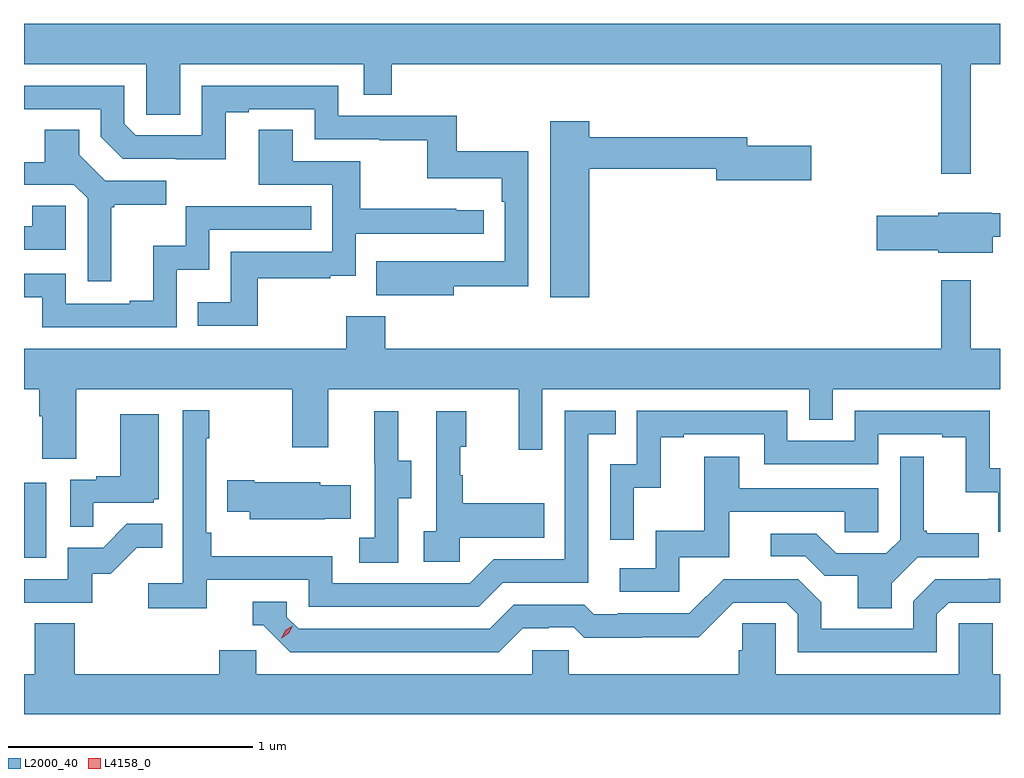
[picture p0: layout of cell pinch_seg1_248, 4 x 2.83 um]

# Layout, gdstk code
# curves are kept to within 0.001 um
import gdstk
lib = gdstk.Library(unit=1e-6, precision=1e-09)
def R(c, l, rs):  # rectangles x0, y0, x1, y1
    for r in rs: c.add(gdstk.rectangle(r[:2], r[2:], *l))
def P(c, l, *ps):  # polygons
    for p in ps: c.add(gdstk.Polygon(p, *l))
L2000_40 = (2000, 40)
L4158_0 = (4158, 0)

pinch_seg1_248 = lib.new_cell('pinch_seg1_248')
R(pinch_seg1_248, L2000_40, [(912.867,573.684,912.958,573.991)])
P(pinch_seg1_248, L2000_40, [(916.747,575.708),(916.867,575.708),(916.867,575.872),(912.867,575.872),(912.867,575.708),(913.368,575.708),(913.368,575.5),(913.507,575.5),(913.507,575.708),(914.259,575.708),(914.259,575.581),(914.375,575.581),(914.375,575.708),(916.626,575.708),(916.626,575.259),(916.747,575.259)],
  [(914.629,574.798),(914.934,574.798),(914.934,575.35),(914.641,575.35),(914.641,575.496),(914.154,575.496),(914.154,575.619),(913.596,575.619),(913.596,575.415),(913.326,575.415),(913.278,575.463),(913.278,575.619),(912.867,575.619),(912.867,575.523),(913.182,575.523),(913.182,575.409),(913.272,575.319),(913.693,575.318),(913.693,575.511),(913.789,575.511),(913.789,575.523),(914.058,575.523),(914.058,575.4),(914.323,575.4),(914.323,575.395),(914.52,575.395),(914.52,575.24),(914.825,575.24),(914.825,575.144),(914.838,575.144),(914.838,574.899),(914.311,574.9),(914.311,574.76),(914.629,574.76)],
  [(915.184,575.278),(915.704,575.278),(915.704,575.231),(916.093,575.231),(916.093,575.373),(915.832,575.373),(915.832,575.407),(915.184,575.407),(915.184,575.473),(915.023,575.473),(915.023,574.752),(915.184,574.752)],
  [(913.225,575.121),(913.237,575.121),(913.237,575.132),(913.45,575.132),(913.45,575.229),(913.2,575.229),(913.093,575.336),(913.093,575.438),(912.953,575.438),(912.953,575.306),(912.867,575.306),(912.867,575.214),(913.071,575.214),(913.128,575.157),(913.128,574.818),(913.225,574.818)],
  [(913.825,574.83),(914.123,574.83),(914.123,574.841),(914.226,574.841),(914.226,575.013),(914.752,575.013),(914.752,575.109),(914.639,575.109),(914.639,575.114),(914.246,575.114),(914.246,575.31),(913.969,575.31),(913.969,575.438),(913.829,575.438),(913.829,575.214),(914.13,575.214),(914.13,574.938),(913.714,574.938),(913.714,574.732),(913.579,574.732),(913.579,574.635),(913.825,574.635)],
  [(913.038,575.127),(912.901,575.127),(912.901,575.043),(912.867,575.043),(912.867,574.947),(913.038,574.947)],
  [(913.494,574.865),(913.626,574.865),(913.626,575.028),(914.045,575.028),(914.045,575.124),(913.53,575.124),(913.53,574.963),(913.397,574.963),(913.397,574.738),(913.301,574.738),(913.301,574.725),(913.038,574.725),(913.038,574.848),(912.867,574.848),(912.867,574.752),(912.942,574.752),(912.942,574.629),(913.494,574.629)],
  [(916.837,575.001),(916.867,575.001),(916.867,575.097),(916.833,575.097),(916.833,575.098),(916.614,575.098),(916.614,575.087),(916.362,575.087),(916.362,574.945),(916.614,574.945),(916.614,574.934),(916.837,574.934)],
  [(912.867,574.376),(912.929,574.376),(912.929,574.264),(912.941,574.264),(912.941,574.09),(913.081,574.09),(913.081,574.376),(913.966,574.376),(913.966,574.137),(914.113,574.137),(914.113,574.376),(914.894,574.376),(914.894,574.128),(914.991,574.128),(914.991,574.376),(916.086,574.376),(916.086,574.249),(916.182,574.249),(916.182,574.376),(916.867,574.376),(916.867,574.54),(916.747,574.54),(916.747,574.822),(916.626,574.822),(916.626,574.54),(914.348,574.54),(914.348,574.675),(914.188,574.675),(914.188,574.54),(912.867,574.54)],
  [(913.616,573.594),(914.034,573.594),(914.034,573.483),(914.731,573.483),(914.83,573.582),(915.18,573.582),(915.18,574.191),(915.293,574.191),(915.293,574.287),(915.084,574.287),(915.084,573.678),(914.793,573.678),(914.694,573.579),(914.13,573.579),(914.13,573.691),(913.634,573.691),(913.634,573.787),(913.614,573.787),(913.614,574.175),(913.627,574.175),(913.627,574.288),(913.518,574.288),(913.518,573.58),(913.377,573.58),(913.377,573.478),(913.616,573.478)],
  [(915.366,573.971),(915.476,573.971),(915.476,574.179),(915.571,574.179),(915.571,574.191),(915.9,574.191),(915.9,574.068),(916.368,574.068),(916.368,574.191),(916.631,574.191),(916.631,574.179),(916.727,574.179),(916.727,573.953),(916.86,573.953),(916.86,573.792),(916.867,573.792),(916.867,574.051),(916.824,574.051),(916.824,574.287),(916.272,574.287),(916.272,574.164),(915.996,574.164),(915.996,574.287),(915.378,574.287),(915.378,574.068),(915.27,574.068),(915.27,573.759),(915.366,573.759)],
  [(914.4,573.928),(914.455,573.928),(914.455,574.083),(914.401,574.083),(914.401,574.285),(914.303,574.285),(914.303,574.071),(914.304,574.071),(914.304,573.767),(914.241,573.767),(914.241,573.664),(914.4,573.664)],
  [(914.652,573.767),(914.999,573.767),(914.999,573.907),(914.665,573.907),(914.665,574.022),(914.655,574.022),(914.655,574.14),(914.68,574.14),(914.68,574.285),(914.556,574.285),(914.556,573.794),(914.505,573.794),(914.505,573.669),(914.652,573.669)],
  [(913.151,573.909),(913.398,573.909),(913.398,573.924),(913.42,573.924),(913.42,574.273),(913.262,574.273),(913.262,574.018),(913.163,574.018),(913.163,574.005),(913.056,574.005),(913.056,573.811),(913.151,573.811)],
  [(916.423,573.58),(916.53,573.687),(916.78,573.687),(916.78,573.784),(916.567,573.784),(916.567,573.796),(916.555,573.796),(916.555,574.099),(916.458,574.099),(916.458,573.759),(916.401,573.702),(916.195,573.702),(916.114,573.783),(915.927,573.783),(915.927,573.69),(916.068,573.69),(916.148,573.61),(916.283,573.61),(916.283,573.478),(916.423,573.478)],
  [(915.552,573.687),(915.757,573.687),(915.757,573.873),(916.231,573.873),(916.231,573.789),(916.368,573.789),(916.368,573.969),(915.799,573.969),(915.799,574.099),(915.655,574.099),(915.655,573.796),(915.456,573.796),(915.456,573.642),(915.309,573.642),(915.309,573.546),(915.552,573.546)],
  [(914.099,573.845),(914.207,573.845),(914.207,573.982),(914.082,573.982),(914.082,573.994),(913.81,573.994),(913.81,574.002),(913.699,574.002),(913.699,573.872),(913.793,573.872),(913.793,573.842),(914.099,573.842)],
  [(913.146,573.618),(913.222,573.618),(913.329,573.725),(913.433,573.725),(913.433,573.824),(913.289,573.824),(913.191,573.726),(913.047,573.726),(913.047,573.597),(912.867,573.597),(912.867,573.501),(913.146,573.501)],
  [(914.911,573.396),(915.018,573.396),(915.018,573.399),(915.121,573.399),(915.163,573.357),(915.396,573.357),(915.396,573.359),(915.632,573.359),(915.774,573.501),(915.99,573.501),(916.038,573.453),(916.038,573.297),(916.608,573.297),(916.608,573.453),(916.656,573.501),(916.867,573.501),(916.867,573.599),(916.818,573.599),(916.818,573.597),(916.602,573.597),(916.512,573.507),(916.512,573.393),(916.135,573.393),(916.135,573.503),(916.041,573.597),(915.735,573.597),(915.594,573.456),(915.301,573.456),(915.301,573.453),(915.202,573.453),(915.163,573.492),(914.874,573.492),(914.775,573.393),(913.992,573.393),(913.944,573.441),(913.944,573.504),(913.805,573.504),(913.805,573.408),(913.848,573.408),(913.959,573.297),(914.812,573.297)],
  [(916.867,573.208),(916.837,573.208),(916.837,573.416),(916.698,573.416),(916.698,573.208),(915.948,573.208),(915.948,573.416),(915.811,573.416),(915.811,573.306),(915.797,573.306),(915.797,573.208),(915.099,573.208),(915.099,573.306),(914.949,573.306),(914.949,573.208),(913.818,573.208),(913.818,573.306),(913.667,573.306),(913.667,573.208),(913.076,573.208),(913.076,573.416),(912.911,573.416),(912.911,573.208),(912.867,573.208),(912.867,573.044),(916.867,573.044)])
P(pinch_seg1_248, L4158_0, [(913.922,573.354),(913.922,573.354),(913.938,573.387),(913.968,573.406),(913.969,573.406),(913.969,573.406),(913.953,573.374),(913.923,573.354)])

lib.write_gds('pinch_seg1_248.gds')
